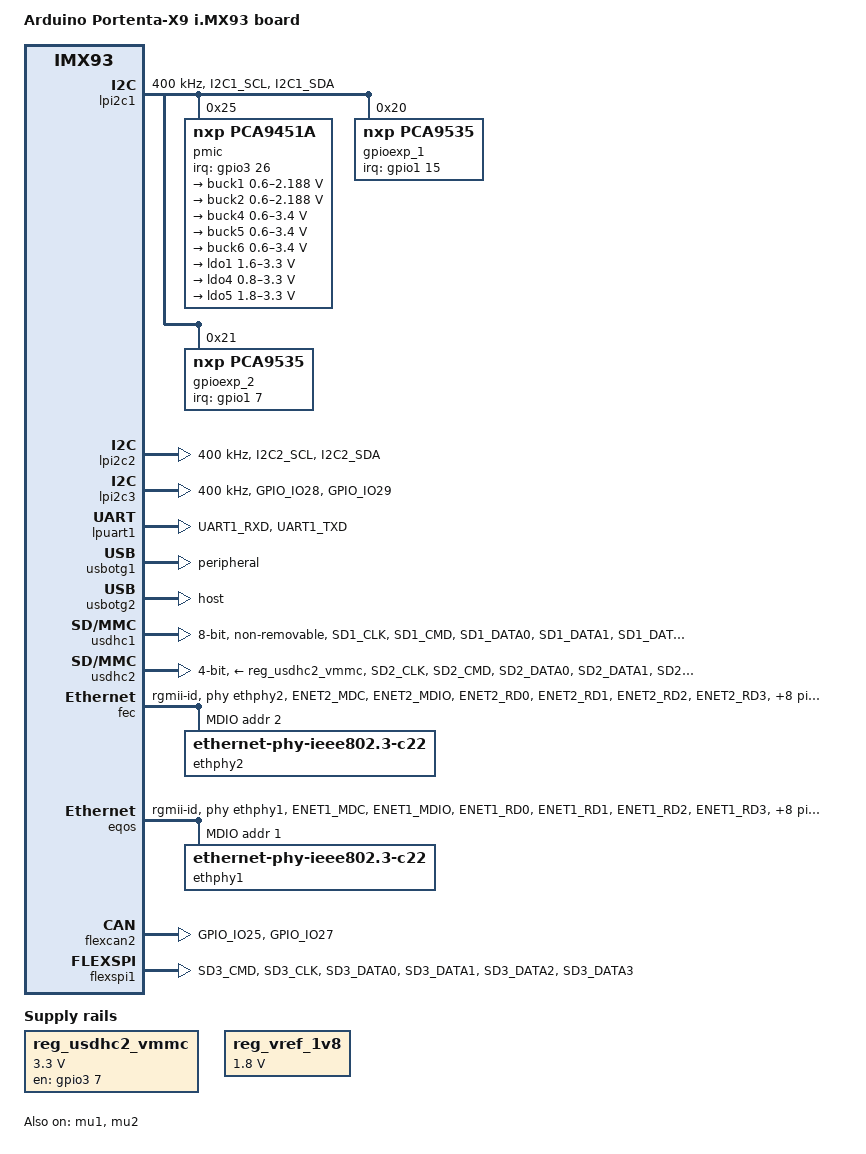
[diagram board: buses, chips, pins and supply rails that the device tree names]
// SPDX-License-Identifier: (GPL-2.0+ OR MIT)
/*
 * Copyright 2022 NXP
 */

/dts-v1/;

#include "imx93.dtsi"

/{
	model = "Arduino Portenta-X9 i.MX93 board";
	compatible = "fsl,imx93-9x9-qsb", "fsl,imx93";

	chosen {
		stdout-path = &lpuart1;
	};

	reserved-memory {
		#address-cells = <2>;
		#size-cells = <2>;
		ranges;

		linux,cma {
			compatible = "shared-dma-pool";
			reusable;
			size = <0 0x10000000>;
			linux,cma-default;
		};

		vdev0vring0: vdev0vring0@a4000000 {
			reg = <0 0xa4000000 0 0x8000>;
			no-map;
		};
		
		vdev0vring1: vdev0vring1@a4008000 {
			reg = <0 0xa4008000 0 0x8000>;
			no-map;
		};

		vdev1vring0: vdev1vring0@a4000000 {
			reg = <0 0xa4010000 0 0x8000>;
			no-map;
		};

		vdev1vring1: vdev1vring1@a4018000 {
			reg = <0 0xa4018000 0 0x8000>;
			no-map;
		};

		rsc_table: rsc-table@2021f000 {
			reg = <0 0x2021f000 0 0x1000>;
			no-map;
		};

		vdevbuffer: vdevbuffer@a4020000 {
			compatible = "shared-dma-pool";
			reg = <0 0xa4020000 0 0x100000>;
			no-map;
		};
	};

	cm33: imx93-cm33 {
		compatible = "fsl,imx93-cm33";
		mbox-names = "tx", "rx", "rxdb";
		mboxes = <&mu1 0 1
			  &mu1 1 1
			  &mu1 3 1>;
		memory-region = <&vdevbuffer>, <&vdev0vring0>, <&vdev0vring1>,
				<&vdev1vring0>, <&vdev1vring1>, <&rsc_table>;
		fsl,startup-delay-ms = <500>;
	};

	reg_usdhc2_vmmc: regulator-usdhc2 {
		compatible = "regulator-fixed";
		pinctrl-names = "default";
		pinctrl-0 = <&pinctrl_reg_usdhc2_vmmc>;
		regulator-name = "VSD_3V3";
		regulator-min-microvolt = <3300000>;
		regulator-max-microvolt = <3300000>;
		gpio = <&gpio3 7 GPIO_ACTIVE_HIGH>;
		off-on-delay-us = <12000>;
		enable-active-high;
	};

	reg_vref_1v8: regulator-adc-vref {
		compatible = "regulator-fixed";
		regulator-name = "vref_1v8";
		regulator-min-microvolt = <1800000>;
		regulator-max-microvolt = <1800000>;
	};
};

&lpi2c1 {
	#address-cells = <1>;
	#size-cells = <0>;
	clock-frequency = <400000>;
	pinctrl-names = "default", "sleep";
	pinctrl-0 = <&pinctrl_lpi2c1>;
	pinctrl-1 = <&pinctrl_lpi2c1>;
	status = "okay";

	pmic@25 {
		compatible = "nxp,pca9451a";
		reg = <0x25>;
		pinctrl-names = "default";
		pinctrl-0 = <&pinctrl_pca9451a>;
		interrupt-parent = <&gpio3>;
		interrupts = <26 IRQ_TYPE_LEVEL_LOW>;

		regulators {
			buck1: BUCK1 {
				regulator-name = "BUCK1";
				regulator-min-microvolt = <600000>;
				regulator-max-microvolt = <2187500>;
				regulator-boot-on;
				regulator-always-on;
				regulator-ramp-delay = <3125>;
			};

			buck2: BUCK2 {
				regulator-name = "BUCK2";
				regulator-min-microvolt = <600000>;
				regulator-max-microvolt = <2187500>;
				regulator-boot-on;
				regulator-always-on;
				regulator-ramp-delay = <3125>;
			};

			buck4: BUCK4{
				regulator-name = "BUCK4";
				regulator-min-microvolt = <600000>;
				regulator-max-microvolt = <3400000>;
				regulator-boot-on;
				regulator-always-on;
			};

			buck5: BUCK5{
				regulator-name = "BUCK5";
				regulator-min-microvolt = <600000>;
				regulator-max-microvolt = <3400000>;
				regulator-boot-on;
				regulator-always-on;
			};

			buck6: BUCK6 {
				regulator-name = "BUCK6";
				regulator-min-microvolt = <600000>;
				regulator-max-microvolt = <3400000>;
				regulator-boot-on;
				regulator-always-on;
			};

			ldo1: LDO1 {
				regulator-name = "LDO1";
				regulator-min-microvolt = <1600000>;
				regulator-max-microvolt = <3300000>;
				regulator-boot-on;
				regulator-always-on;
			};

			ldo4: LDO4 {
				regulator-name = "LDO4";
				regulator-min-microvolt = <800000>;
				regulator-max-microvolt = <3300000>;
				regulator-boot-on;
				regulator-always-on;
			};

			ldo5: LDO5 {
				regulator-name = "LDO5";
				regulator-min-microvolt = <1800000>;
				regulator-max-microvolt = <3300000>;
				regulator-boot-on;
				regulator-always-on;
			};
		};
	};

	/* KTS1622EUAA-TR U19 */
	gpioexp_1: gpio@20 {
		compatible = "nxp,pca9535";
		pinctrl-names = "default";
		pinctrl-0 = <&pinctrl_gpioexp_1>;
		reg = <0x20>;
		gpio-controller;
		#gpio-cells = <2>;
		interrupt-controller;
		#interrupt-cells = <2>;
		interrupt-parent = <&gpio1>;
		interrupts = <15 IRQ_TYPE_LEVEL_LOW>;
	};

	/* KTS1622EUAA-TR U20 */
	gpioexp_2: gpio@21 {
		compatible = "nxp,pca9535";
		pinctrl-names = "default";
		pinctrl-0 = <&pinctrl_gpioexp_2>;
		reg = <0x21>;
		gpio-controller;
		#gpio-cells = <2>;
		interrupt-controller;
		#interrupt-cells = <2>;
		interrupt-parent = <&gpio1>;
		interrupts = <7 IRQ_TYPE_LEVEL_LOW>;
	};
};

&lpi2c2 {
	#address-cells = <1>;
	#size-cells = <0>;
	clock-frequency = <400000>;
	pinctrl-names = "default", "sleep";
	pinctrl-0 = <&pinctrl_lpi2c2>;
	pinctrl-1 = <&pinctrl_lpi2c2>;
	status = "okay";
};

&lpi2c3 {
	#address-cells = <1>;
	#size-cells = <0>;
	clock-frequency = <400000>;
	pinctrl-names = "default", "sleep";
	pinctrl-0 = <&pinctrl_lpi2c3>;
	pinctrl-1 = <&pinctrl_lpi2c3>;
	status = "okay";
};

/*
@TODO: move console to LPUART6
SPI0 CIPO: LPUART1 RX
SPI0 CS: LPUART1 TX
*/
&lpuart1 { /* console */
	pinctrl-names = "default";
	pinctrl-0 = <&pinctrl_uart1>;
	status = "okay";
};

&lpuart2 {
	pinctrl-names = "default";
	pinctrl-0 = <&pinctrl_uart2>;
	status = "disabled";
};

&lpuart5 {
	/* Bluetooth */
	pinctrl-names = "default";
	pinctrl-0 = <&pinctrl_uart5>;
	status = "disabled";
};

&lpuart6 {
	pinctrl-names = "default";
	pinctrl-0 = <&pinctrl_uart6>;
	clocks = <&clk IMX93_CLK_LPUART6_GATE>, <&clk IMX93_CLK_LPUART6_GATE>;
	clock-names = "ipg", "per";
	uart-has-rtscts = <0>; /* Disable RTS/CTS */
	status = "disabled";
};

&mu1 {
	status = "okay";
};

&mu2 {
	status = "okay";
};

&usbotg1 { /* Type-C USB Port USB_HS */
	dr_mode = "peripheral";
	hnp-disable;
	srp-disable;
	adp-disable;
	disable-over-current;
	samsung,picophy-pre-emp-curr-control = <3>;
	samsung,picophy-dc-vol-level-adjust = <7>;
	status = "okay";
};

&usbotg2 { /* USB_FS */
	dr_mode = "host";
	hnp-disable;
	srp-disable;
	adp-disable;
	disable-over-current;
	samsung,picophy-pre-emp-curr-control = <3>;
	samsung,picophy-dc-vol-level-adjust = <7>;
	status = "okay";
};

&usdhc1 { /* eMMC */
	pinctrl-names = "default", "state_100mhz", "state_200mhz";
	pinctrl-0 = <&pinctrl_usdhc1>;
	pinctrl-1 = <&pinctrl_usdhc1_100mhz>;
	pinctrl-2 = <&pinctrl_usdhc1_200mhz>;
	bus-width = <8>;
	non-removable;
	status = "okay";
};

&usdhc2 { /* SD-Card */
	pinctrl-names = "default", "state_100mhz", "state_200mhz";
	pinctrl-0 = <&pinctrl_usdhc2>, <&pinctrl_usdhc2_gpio>;
	pinctrl-1 = <&pinctrl_usdhc2_100mhz>, <&pinctrl_usdhc2_gpio>;
	pinctrl-2 = <&pinctrl_usdhc2_200mhz>, <&pinctrl_usdhc2_gpio>;
	cd-gpios = <&gpio3 0 GPIO_ACTIVE_LOW>;
	vmmc-supply = <&reg_usdhc2_vmmc>;
	bus-width = <4>;
	status = "okay";
	no-sdio;
	no-mmc;
};

&usdhc3 { /* WiFi Bluetooth IW612 */
	pinctrl-names = "default", "state_100mhz", "state_200mhz";
	pinctrl-0 = <&pinctrl_usdhc3>;
	pinctrl-1 = <&pinctrl_usdhc3_100mhz>;
	pinctrl-2 = <&pinctrl_usdhc3_200mhz>;
	status = "disabled";
};

/* ETH2 */
&fec {
	pinctrl-names = "default";
	pinctrl-0 = <&pinctrl_fec>;
	phy-mode = "rgmii-id";
	phy-handle = <&ethphy2>;
	fsl,magic-packet;
	status = "okay";

	mdio {
		#address-cells = <1>;
		#size-cells = <0>;
		clock-frequency = <5000000>;

		ethphy2: ethernet-phy@2 {
			compatible = "ethernet-phy-ieee802.3-c22";
			reg = <2>;
			eee-broken-1000t;
			rtl821x,aldps-disable;
			rtl821x,clkout-disable;
		};
	};
};

/* ETH1 */
&eqos {
	pinctrl-names = "default";
	pinctrl-0 = <&pinctrl_eqos>;
	phy-mode = "rgmii-id";
	phy-handle = <&ethphy1>;
	status = "okay";

	mdio {
		compatible = "snps,dwmac-mdio";
		#address-cells = <1>;
		#size-cells = <0>;
		clock-frequency = <5000000>;

		ethphy1: ethernet-phy@1 {
			compatible = "ethernet-phy-ieee802.3-c22";
			reg = <1>;
			eee-broken-1000t;
		};
	};
};

&flexcan2 {
	pinctrl-names = "default";
	pinctrl-0 = <&pinctrl_flexcan2>;
	status = "okay";
};

&flexspi1 {
	pinctrl-names = "default";
	pinctrl-0 = <&pinctrl_flexspi>;
	status = "okay";
};

&iomuxc {
	pinctrl-names = "default";
	status = "okay";

	pinctrl_flexcan2: flexcan2grp {
		fsl,pins = <
			MX93_PAD_GPIO_IO25__CAN2_TX	0x139e
			MX93_PAD_GPIO_IO27__CAN2_RX	0x139e
		>;
	};

	pinctrl_flexspi: flexspigrp {
		fsl,pins = <
			MX93_PAD_SD3_CMD__FLEXSPI1_A_SS0_B	0x42
			MX93_PAD_SD3_CLK__FLEXSPI1_A_SCLK	0x42
			MX93_PAD_SD3_DATA0__FLEXSPI1_A_DATA00	0x42
			MX93_PAD_SD3_DATA1__FLEXSPI1_A_DATA01	0x42
			MX93_PAD_SD3_DATA2__FLEXSPI1_A_DATA02	0x42
			MX93_PAD_SD3_DATA3__FLEXSPI1_A_DATA03	0x42
		>;
	};

	pinctrl_fec: fecgrp {
		fsl,pins = <
			MX93_PAD_ENET2_MDC__ENET1_MDC			0x57e
			MX93_PAD_ENET2_MDIO__ENET1_MDIO			0x57e
			MX93_PAD_ENET2_RD0__ENET1_RGMII_RD0		0x57e
			MX93_PAD_ENET2_RD1__ENET1_RGMII_RD1		0x57e
			MX93_PAD_ENET2_RD2__ENET1_RGMII_RD2		0x57e
			MX93_PAD_ENET2_RD3__ENET1_RGMII_RD3		0x57e
			MX93_PAD_ENET2_RXC__ENET1_RGMII_RXC		0x5fe
			MX93_PAD_ENET2_RX_CTL__ENET1_RGMII_RX_CTL	0x57e
			MX93_PAD_ENET2_TD0__ENET1_RGMII_TD0		0x57e
			MX93_PAD_ENET2_TD1__ENET1_RGMII_TD1		0x57e
			MX93_PAD_ENET2_TD2__ENET1_RGMII_TD2		0x57e
			MX93_PAD_ENET2_TD3__ENET1_RGMII_TD3		0x57e
			MX93_PAD_ENET2_TXC__ENET1_RGMII_TXC		0x5fe
			MX93_PAD_ENET2_TX_CTL__ENET1_RGMII_TX_CTL	0x57e
		>;
	};

	/* ETH1 */
	pinctrl_eqos: eqosgrp {
		fsl,pins = <
			MX93_PAD_ENET1_MDC__ENET_QOS_MDC			0x57e
			MX93_PAD_ENET1_MDIO__ENET_QOS_MDIO			0x57e
			MX93_PAD_ENET1_RD0__ENET_QOS_RGMII_RD0			0x57e
			MX93_PAD_ENET1_RD1__ENET_QOS_RGMII_RD1			0x57e
			MX93_PAD_ENET1_RD2__ENET_QOS_RGMII_RD2			0x57e
			MX93_PAD_ENET1_RD3__ENET_QOS_RGMII_RD3			0x57e
			MX93_PAD_ENET1_RXC__CCM_ENET_QOS_CLOCK_GENERATE_RX_CLK	0x5fe
			MX93_PAD_ENET1_RX_CTL__ENET_QOS_RGMII_RX_CTL		0x57e
			MX93_PAD_ENET1_TD0__ENET_QOS_RGMII_TD0			0x57e
			MX93_PAD_ENET1_TD1__ENET_QOS_RGMII_TD1			0x57e
			MX93_PAD_ENET1_TD2__ENET_QOS_RGMII_TD2			0x57e
			MX93_PAD_ENET1_TD3__ENET_QOS_RGMII_TD3			0x57e
			MX93_PAD_ENET1_TXC__CCM_ENET_QOS_CLOCK_GENERATE_TX_CLK	0x5fe
			MX93_PAD_ENET1_TX_CTL__ENET_QOS_RGMII_TX_CTL		0x57e
		>;
	};

	pinctrl_lpi2c1: lpi2c1grp {
		fsl,pins = <
			MX93_PAD_I2C1_SCL__LPI2C1_SCL			0x40000b9e
			MX93_PAD_I2C1_SDA__LPI2C1_SDA			0x40000b9e
		>;
	};

	pinctrl_lpi2c2: lpi2c2grp {
		fsl,pins = <
			MX93_PAD_I2C2_SCL__LPI2C2_SCL			0x40000b9e
			MX93_PAD_I2C2_SDA__LPI2C2_SDA			0x40000b9e
		>;
	};

	pinctrl_lpi2c3: lpi2c3grp {
		fsl,pins = <
			MX93_PAD_GPIO_IO28__LPI2C3_SDA			0x40000b9e
			MX93_PAD_GPIO_IO29__LPI2C3_SCL			0x40000b9e
		>;
	};

	pinctrl_pca9451a: pca9451agrp {
		fsl,pins = <
			MX93_PAD_CCM_CLKO1__GPIO3_IO26			0x1380
		>;
	};

	pinctrl_gpioexp_1: gpioexp_1grp {
		fsl,pins = <
			MX93_PAD_WDOG_ANY__GPIO1_IO15			0x31e
		>;
	};

	pinctrl_gpioexp_2: gpioexp_2grp {
		fsl,pins = <
			MX93_PAD_GPIO_IO07__GPIO2_IO07			0x31e
		>;
	};

	pinctrl_uart1: uart1grp {
		fsl,pins = <
			MX93_PAD_UART1_RXD__LPUART1_RX			0x31e
			MX93_PAD_UART1_TXD__LPUART1_TX			0x31e
		>;
	};

	pinctrl_uart2: uart2grp {
		fsl,pins = <
			MX93_PAD_UART2_TXD__LPUART2_TX			0x31e
			MX93_PAD_UART2_RXD__LPUART2_RX			0x31e
		>;
	};

	pinctrl_uart5: uart5grp {
		fsl,pins = <
			MX93_PAD_DAP_TDO_TRACESWO__LPUART5_TX	0x31e
			MX93_PAD_DAP_TDI__LPUART5_RX		0x31e
			MX93_PAD_DAP_TMS_SWDIO__LPUART5_RTS_B	0x31e
			MX93_PAD_DAP_TCLK_SWCLK__LPUART5_CTS_B	0x31e
		>;
	};

	pinctrl_uart6: uart6grp {
		fsl,pins = <
			MX93_PAD_GPIO_IO04__LPUART6_TX			0x31e
			MX93_PAD_GPIO_IO05__LPUART6_RX			0x31e
		>;
	};

	/* need to config the SION for data and cmd pad, refer to ERR052021 */
	pinctrl_usdhc1: usdhc1grp {
		fsl,pins = <
			MX93_PAD_SD1_CLK__USDHC1_CLK		0x1582
			MX93_PAD_SD1_CMD__USDHC1_CMD		0x40001382
			MX93_PAD_SD1_DATA0__USDHC1_DATA0	0x40001382
			MX93_PAD_SD1_DATA1__USDHC1_DATA1	0x40001382
			MX93_PAD_SD1_DATA2__USDHC1_DATA2	0x40001382
			MX93_PAD_SD1_DATA3__USDHC1_DATA3	0x40001382
			MX93_PAD_SD1_DATA4__USDHC1_DATA4	0x40001382
			MX93_PAD_SD1_DATA5__USDHC1_DATA5	0x40001382
			MX93_PAD_SD1_DATA6__USDHC1_DATA6	0x40001382
			MX93_PAD_SD1_DATA7__USDHC1_DATA7	0x40001382
			MX93_PAD_SD1_STROBE__USDHC1_STROBE	0x1582
		>;
	};

	/* need to config the SION for data and cmd pad, refer to ERR052021 */
	pinctrl_usdhc1_100mhz: usdhc1-100mhzgrp {
		fsl,pins = <
			MX93_PAD_SD1_CLK__USDHC1_CLK		0x158e
			MX93_PAD_SD1_CMD__USDHC1_CMD		0x4000138e
			MX93_PAD_SD1_DATA0__USDHC1_DATA0	0x4000138e
			MX93_PAD_SD1_DATA1__USDHC1_DATA1	0x4000138e
			MX93_PAD_SD1_DATA2__USDHC1_DATA2	0x4000138e
			MX93_PAD_SD1_DATA3__USDHC1_DATA3	0x4000138e
			MX93_PAD_SD1_DATA4__USDHC1_DATA4	0x4000138e
			MX93_PAD_SD1_DATA5__USDHC1_DATA5	0x4000138e
			MX93_PAD_SD1_DATA6__USDHC1_DATA6	0x4000138e
			MX93_PAD_SD1_DATA7__USDHC1_DATA7	0x4000138e
			MX93_PAD_SD1_STROBE__USDHC1_STROBE	0x158e
		>;
	};

	/* need to config the SION for data and cmd pad, refer to ERR052021 */
	pinctrl_usdhc1_200mhz: usdhc1-200mhzgrp {
		fsl,pins = <
			MX93_PAD_SD1_CLK__USDHC1_CLK		0x15fe
			MX93_PAD_SD1_CMD__USDHC1_CMD		0x400013fe
			MX93_PAD_SD1_DATA0__USDHC1_DATA0	0x400013fe
			MX93_PAD_SD1_DATA1__USDHC1_DATA1	0x400013fe
			MX93_PAD_SD1_DATA2__USDHC1_DATA2	0x400013fe
			MX93_PAD_SD1_DATA3__USDHC1_DATA3	0x400013fe
			MX93_PAD_SD1_DATA4__USDHC1_DATA4	0x400013fe
			MX93_PAD_SD1_DATA5__USDHC1_DATA5	0x400013fe
			MX93_PAD_SD1_DATA6__USDHC1_DATA6	0x400013fe
			MX93_PAD_SD1_DATA7__USDHC1_DATA7	0x400013fe
			MX93_PAD_SD1_STROBE__USDHC1_STROBE	0x15fe
		>;
	};

	pinctrl_reg_usdhc2_vmmc: regusdhc2vmmcgrp {
		fsl,pins = <
			MX93_PAD_SD2_RESET_B__GPIO3_IO07		0x31e
		>;
	};

	pinctrl_usdhc2_gpio: usdhc2gpiogrp {
		fsl,pins = <
			MX93_PAD_SD2_CD_B__GPIO3_IO00			0x31e
		>;
	};

	/* need to config the SION for data and cmd pad, refer to ERR052021 */
	pinctrl_usdhc2: usdhc2grp {
		fsl,pins = <
			MX93_PAD_SD2_CLK__USDHC2_CLK		0x1582
			MX93_PAD_SD2_CMD__USDHC2_CMD		0x40001582
			MX93_PAD_SD2_DATA0__USDHC2_DATA0	0x40001582
			MX93_PAD_SD2_DATA1__USDHC2_DATA1	0x40001582
			MX93_PAD_SD2_DATA2__USDHC2_DATA2	0x40001582
			MX93_PAD_SD2_DATA3__USDHC2_DATA3	0x40001582
			MX93_PAD_SD2_VSELECT__USDHC2_VSELECT	0x51e
		>;
	};

	/* need to config the SION for data and cmd pad, refer to ERR052021 */
	pinctrl_usdhc2_100mhz: usdhc2-100mhzgrp {
		fsl,pins = <
			MX93_PAD_SD2_CLK__USDHC2_CLK		0x158e
			MX93_PAD_SD2_CMD__USDHC2_CMD		0x4000158e
			MX93_PAD_SD2_DATA0__USDHC2_DATA0	0x4000158e
			MX93_PAD_SD2_DATA1__USDHC2_DATA1	0x4000158e
			MX93_PAD_SD2_DATA2__USDHC2_DATA2	0x4000158e
			MX93_PAD_SD2_DATA3__USDHC2_DATA3	0x4000158e
			MX93_PAD_SD2_VSELECT__USDHC2_VSELECT	0x51e
		>;
	};

	/* need to config the SION for data and cmd pad, refer to ERR052021 */
	pinctrl_usdhc2_200mhz: usdhc2-200mhzgrp {
		fsl,pins = <
			MX93_PAD_SD2_CLK__USDHC2_CLK		0x15fe
			MX93_PAD_SD2_CMD__USDHC2_CMD		0x400015fe
			MX93_PAD_SD2_DATA0__USDHC2_DATA0	0x400015fe
			MX93_PAD_SD2_DATA1__USDHC2_DATA1	0x400015fe
			MX93_PAD_SD2_DATA2__USDHC2_DATA2	0x400015fe
			MX93_PAD_SD2_DATA3__USDHC2_DATA3	0x400015fe
			MX93_PAD_SD2_VSELECT__USDHC2_VSELECT	0x51e
		>;
	};

	/* need to config the SION for data and cmd pad, refer to ERR052021 */
	pinctrl_usdhc3: usdhc3grp {
		fsl,pins = <
			MX93_PAD_SD3_CLK__USDHC3_CLK		0x1582
			MX93_PAD_SD3_CMD__USDHC3_CMD		0x40001382
			MX93_PAD_SD3_DATA0__USDHC3_DATA0	0x40001382
			MX93_PAD_SD3_DATA1__USDHC3_DATA1	0x40001382
			MX93_PAD_SD3_DATA2__USDHC3_DATA2	0x40001382
			MX93_PAD_SD3_DATA3__USDHC3_DATA3	0x40001382
		>;
	};

	/* need to config the SION for data and cmd pad, refer to ERR052021 */
	pinctrl_usdhc3_100mhz: usdhc3-100mhzgrp {
		fsl,pins = <
			MX93_PAD_SD3_CLK__USDHC3_CLK		0x158e
			MX93_PAD_SD3_CMD__USDHC3_CMD		0x4000138e
			MX93_PAD_SD3_DATA0__USDHC3_DATA0	0x4000138e
			MX93_PAD_SD3_DATA1__USDHC3_DATA1	0x4000138e
			MX93_PAD_SD3_DATA2__USDHC3_DATA2	0x4000138e
			MX93_PAD_SD3_DATA3__USDHC3_DATA3	0x4000138e
		>;
	};

	/* need to config the SION for data and cmd pad, refer to ERR052021 */
	pinctrl_usdhc3_200mhz: usdhc3-200mhzgrp {
		fsl,pins = <
			MX93_PAD_SD3_CLK__USDHC3_CLK		0x15fe
			MX93_PAD_SD3_CMD__USDHC3_CMD		0x400013fe
			MX93_PAD_SD3_DATA0__USDHC3_DATA0	0x400013fe
			MX93_PAD_SD3_DATA1__USDHC3_DATA1	0x400013fe
			MX93_PAD_SD3_DATA2__USDHC3_DATA2	0x400013fe
			MX93_PAD_SD3_DATA3__USDHC3_DATA3	0x400013fe
		>;
	};
};

